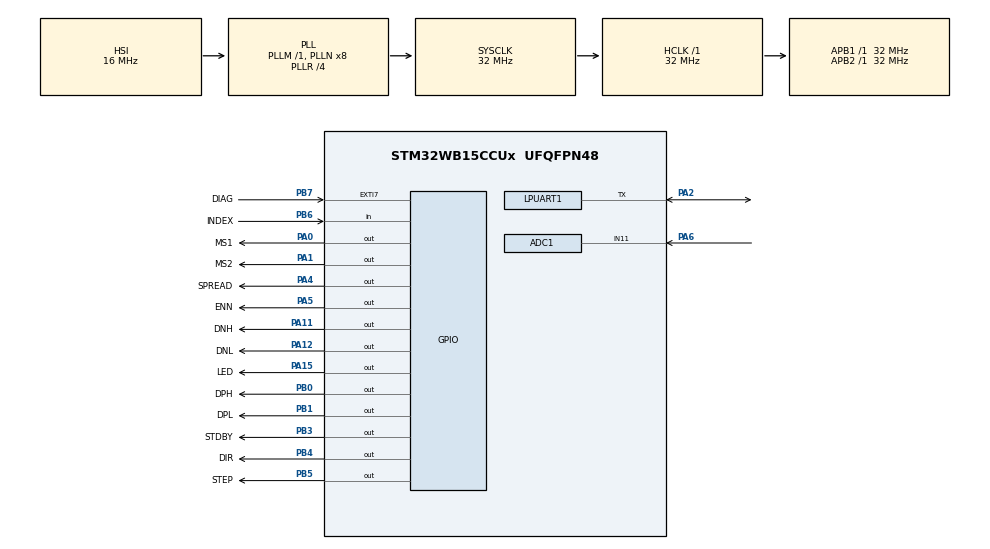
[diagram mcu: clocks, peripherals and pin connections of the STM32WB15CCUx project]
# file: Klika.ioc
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ADC1.Channel-0\#ChannelRegularConversion=ADC_CHANNEL_11
ADC1.NbrOfConversionFlag=1
ADC1.Rank-0\#ChannelRegularConversion=1
ADC1.SamplingTime-0\#ChannelRegularConversion=ADC_SAMPLINGTIME_COMMON_1
ADC1.SelectedChannel=ADC_CHANNEL_11
ADC1.master=1
LPUART1.BaudRate=460800
LPUART1.MSBFirstParam=UART_ADVFEATURE_MSBFIRST_DISABLE
Mcu.Family=STM32WB
Mcu.Name=STM32WB15CCUx
Mcu.Package=UFQFPN48
NVIC.EXTI9_5_IRQn=true\:4\:0\:true\:false\:true\:true\:true\:true
NVIC.HSEM_IRQn=true\:0\:0\:false\:false\:true\:false\:true\:true
NVIC.IPCC_C1_RX_IRQn=true\:0\:0\:false\:false\:true\:true\:true\:true
NVIC.IPCC_C1_TX_IRQn=true\:0\:0\:false\:false\:true\:true\:true\:true
NVIC.PriorityGroup=NVIC_PRIORITYGROUP_4
NVIC.RTC_WKUP_IRQn=true\:0\:0\:false\:false\:true\:true\:true\:true
NVIC.TIM1_CC_IRQn=true\:7\:0\:true\:false\:true\:true\:true\:true
NVIC.TIM1_UP_IRQn=true\:6\:0\:true\:false\:true\:true\:true\:true
OSC_IN.Mode=HSE-External-Oscillator
OSC_IN.Signal=RCC_OSC_IN
OSC_OUT.Mode=HSE-External-Oscillator
OSC_OUT.Signal=RCC_OSC_OUT
PA0.GPIO_Label=MS1
PA0.Signal=GPIO_Output
PA1.GPIO_Label=MS2
PA1.Signal=GPIO_Output
PA11.GPIO_Label=DNH
PA11.Signal=GPIO_Output
PA12.GPIO_Label=DNL
PA12.Signal=GPIO_Output
PA13.Mode=Serial_Wire
PA13.Signal=SYS_JTMS-SWDIO
PA14.Mode=Serial_Wire
PA14.Signal=SYS_JTCK-SWCLK
PA15.GPIO_Label=LED
PA15.Signal=GPIO_Output
PA2.GPIO_Speed=GPIO_SPEED_FREQ_VERY_HIGH
PA2.Mode=Half_duplex(single_wire_mode)
PA2.Signal=LPUART1_TX
PA4.GPIO_Label=SPREAD
PA4.Signal=GPIO_Output
PA5.GPIO_Label=ENN
PA5.Signal=GPIO_Output
PA6.Signal=ADCx_IN11
PB0.GPIO_Label=DPH
PB0.Signal=GPIO_Output
PB1.GPIO_Label=DPL
PB1.Signal=GPIO_Output
PB3.GPIO_Label=STDBY
PB3.Signal=GPIO_Output
PB4.GPIO_Label=DIR
PB4.Signal=GPIO_Output
PB5.GPIO_Label=STEP
PB5.Signal=GPIO_Output
PB6.GPIO_Label=INDEX
PB6.Signal=GPIO_Input
PB7.GPIO_Label=DIAG
PB7.Signal=GPXTI7
PC14-OSC32_IN.Mode=LSE-External-Oscillator
PC14-OSC32_IN.Signal=RCC_OSC32_IN
PC15-OSC32_OUT.Mode=LSE-External-Oscillator
PC15-OSC32_OUT.Signal=RCC_OSC32_OUT
ProjectManager.HeapSize=0x200
ProjectManager.StackSize=0x400
ProjectManager.TargetToolchain=STM32CubeIDE
RCC.ADCFreq_Value=16000000
RCC.AHBFreq_Value=32000000
RCC.APB1Freq_Value=32000000
RCC.APB1TimFreq_Value=32000000
RCC.APB2Freq_Value=32000000
RCC.APB2TimFreq_Value=32000000
RCC.APB3Freq_Value=16000000
RCC.CortexFreq_Value=32000000
RCC.HCLKFreq_Value=32000000
RCC.HSEPRES=2
RCC.HSE_VALUE=32000000
RCC.HSI_VALUE=16000000
RCC.MSIClockRange=RCC_MSIRANGE_10
RCC.PLLR=RCC_PLLR_DIV4
RCC.PLLSourceVirtual=RCC_PLLSOURCE_HSI
RCC.RFWKPClockSelection=RCC_RFWKPCLKSOURCE_LSE
RCC.RTCClockSelection=RCC_RTCCLKSOURCE_LSE
RCC.SYSCLKFreq_VALUE=32000000
RCC.SYSCLKSource=RCC_SYSCLKSOURCE_PLLCLK
RCC.VCOOutputFreq_Value=128000000
RF1.Mode=RF1_Activate
RF1.Signal=RF_RF1
SH.ADCx_IN11.0=ADC1_IN11,IN11-Single-Ended
STM32_WPAN.ADV_TYPE=ADV_IND
STM32_WPAN.AD_SERVICE_CLASS_UUID_1=00 69
STM32_WPAN.AD_SERVICE_CLASS_UUID_1_INV=[69, 00]
STM32_WPAN.AD_TYPE_APPEARANCE=0x01, 0x80 /* GENERIC_REMOTE_CONTOL_APPEARANCE */
STM32_WPAN.AD_TYPE_COMPLETE_LOCAL_NAME=KLIKA
STM32_WPAN.AD_TYPE_COMPLETE_LOCAL_NAME_LENGTH=6
STM32_WPAN.CFG_BLE_OPTIONS_POWER_CLASS=SHCI_C2_BLE_INIT_OPTIONS_POWER_CLASS_1
STM32_WPAN.CFG_GAP_DEVICE_NAME=KLIKA
STM32_WPAN.CFG_GAP_DEVICE_NAME_LENGTH=5
STM32_WPAN.CFG_IDENTITY_ADDRESS=GAP_PUBLIC_ADDR
STM32_WPAN.CFG_LSCLK_LSE=0
STM32_WPAN.CFG_PRIVACY=PRIVACY_DISABLED
STM32_WPAN.CFG_SC_SUPPORT=CFG_SECURE_MANDATORY
STM32_WPAN.CFG_TX_POWER=(0x1F) /* 6dBm */
STM32_WPAN.CUSTOM_P2P_SERVER=Disabled
STM32_WPAN.CUSTOM_TEMPLATE=Enabled
STM32_WPAN.GAP_BROADCASTER_ROLE=0
STM32_WPAN.GAP_PERIPHERAL_ROLE=0
STM32_WPAN.INCLUDE_AD_TYPE_128_BIT_SERV_UUID_CMPLT_LIST=0
STM32_WPAN.INCLUDE_AD_TYPE_16_BIT_SERV_UUID_CMPLT_LIST=0
STM32_WPAN.INCLUDE_AD_TYPE_ADVERTISING_INTERVAL=0
STM32_WPAN.INCLUDE_AD_TYPE_APPEARANCE=0
STM32_WPAN.INCLUDE_AD_TYPE_COMPLETE_LOCAL_NAME=1
STM32_WPAN.INCLUDE_AD_TYPE_LE_ROLE=0
STM32_WPAN.INCLUDE_AD_TYPE_MANUFACTURER_SPECIFIC_DATA=1
STM32_WPAN.INCLUDE_AD_TYPE_SHORTENED_LOCAL_NAME=0
STM32_WPAN.INCLUDE_AD_TYPE_SLAVE_CONN_INTERVAL=0
STM32_WPAN.INCLUDE_AD_TYPE_TX_POWER_LEVEL=0
STM32_WPAN.INCLUDE_AD_TYPE_URI=0
STM32_WPAN.LOCAL_NAME=KLIKA
STM32_WPAN.LOCAL_NAME_FORMATTED=,'K','L','I','K','A'
STM32_WPAN.NUMBER_OF_SERVICES=1
STM32_WPAN.PAIRING_PARAMETERS=ON
STM32_WPAN.SERVICE1_CHAR1_ATTR_PERMISSION_AUTHEN_WRITE=\ 
STM32_WPAN.SERVICE1_CHAR1_GATT_NOTIFY_ATTRIBUTE_WRITE=GATT_NOTIFY_ATTRIBUTE_WRITE
STM32_WPAN.SERVICE1_CHAR1_GATT_NOTIFY_READ_REQ_AND_WAIT_FOR_APPL_RESP=\ 
STM32_WPAN.SERVICE1_CHAR1_GATT_NOTIFY_WRITE_REQ_AND_WAIT_FOR_APPL_RESP=\ 
STM32_WPAN.SERVICE1_CHAR1_LONG_NAME=Lock
STM32_WPAN.SERVICE1_CHAR1_PROP_WRITE_WITHOUT_RESP=CHAR_PROP_WRITE_WITHOUT_RESP
STM32_WPAN.SERVICE1_CHAR1_SHORT_NAME=Lock
STM32_WPAN.SERVICE1_CHAR1_UUID=00 00
STM32_WPAN.SERVICE1_CHAR1_UUID_128_INPUT_TYPE=0
STM32_WPAN.SERVICE1_CHAR1_UUID_TYPE=0x01
STM32_WPAN.SERVICE1_CHAR1_VALUE_LENGTH=1
STM32_WPAN.SERVICE1_CHAR2_GATT_NOTIFY_READ_REQ_AND_WAIT_FOR_APPL_RESP=\ 
STM32_WPAN.SERVICE1_CHAR2_GATT_NOTIFY_WRITE_REQ_AND_WAIT_FOR_APPL_RESP=\ 
STM32_WPAN.SERVICE1_CHAR2_LENGTH_CHARACTERISTIC=CHAR_VALUE_LEN_CONSTANT
STM32_WPAN.SERVICE1_CHAR2_LONG_NAME=Unlock
STM32_WPAN.SERVICE1_CHAR2_PROP_WRITE_WITHOUT_RESP=CHAR_PROP_WRITE_WITHOUT_RESP
STM32_WPAN.SERVICE1_CHAR2_SHORT_NAME=Unlock
STM32_WPAN.SERVICE1_CHAR2_UUID=00 01
STM32_WPAN.SERVICE1_CHAR2_UUID_TYPE=0x01
STM32_WPAN.SERVICE1_CHAR3_GATT_NOTIFY_READ_REQ_AND_WAIT_FOR_APPL_RESP=\ 
STM32_WPAN.SERVICE1_CHAR3_GATT_NOTIFY_WRITE_REQ_AND_WAIT_FOR_APPL_RESP=\ 
STM32_WPAN.SERVICE1_CHAR3_LONG_NAME=Calibration
STM32_WPAN.SERVICE1_CHAR3_PROP_WRITE_WITHOUT_RESP=CHAR_PROP_WRITE_WITHOUT_RESP
STM32_WPAN.SERVICE1_CHAR3_SHORT_NAME=Calibration
STM32_WPAN.SERVICE1_CHAR3_UUID=00 02
STM32_WPAN.SERVICE1_CHAR3_UUID_TYPE=0x01
STM32_WPAN.SERVICE1_CHAR4_GATT_NOTIFY_READ_REQ_AND_WAIT_FOR_APPL_RESP=\ 
STM32_WPAN.SERVICE1_CHAR4_GATT_NOTIFY_WRITE_REQ_AND_WAIT_FOR_APPL_RESP=\ 
STM32_WPAN.SERVICE1_CHAR4_LONG_NAME=Demo
STM32_WPAN.SERVICE1_CHAR4_PROP_WRITE_WITHOUT_RESP=CHAR_PROP_WRITE_WITHOUT_RESP
STM32_WPAN.SERVICE1_CHAR4_SHORT_NAME=Demo
STM32_WPAN.SERVICE1_CHAR4_UUID=00 03
STM32_WPAN.SERVICE1_CHAR4_UUID_128_INPUT_TYPE=1
STM32_WPAN.SERVICE1_CHAR4_UUID_TYPE=0x01
STM32_WPAN.SERVICE1_CHAR5_GATT_NOTIFY_ATTRIBUTE_WRITE=GATT_NOTIFY_ATTRIBUTE_WRITE
STM32_WPAN.SERVICE1_CHAR5_GATT_NOTIFY_READ_REQ_AND_WAIT_FOR_APPL_RESP=\ 
STM32_WPAN.SERVICE1_CHAR5_GATT_NOTIFY_WRITE_REQ_AND_WAIT_FOR_APPL_RESP=\ 
STM32_WPAN.SERVICE1_CHAR5_LENGTH_CHARACTERISTIC=CHAR_VALUE_LEN_CONSTANT
STM32_WPAN.SERVICE1_CHAR5_LONG_NAME=MY_LED
STM32_WPAN.SERVICE1_CHAR5_PROP_WRITE_WITHOUT_RESP=CHAR_PROP_WRITE_WITHOUT_RESP
STM32_WPAN.SERVICE1_CHAR5_SHORT_NAME=LED
STM32_WPAN.SERVICE1_CHAR5_UUID=00 04
STM32_WPAN.SERVICE1_CHAR5_UUID_TYPE=0x01
STM32_WPAN.SERVICE1_CHAR5_VALUE_LENGTH=1
STM32_WPAN.SERVICE1_LONG_NAME=phone_communication
STM32_WPAN.SERVICE1_NUMBER_OF_CHARACTERISTICS=5
STM32_WPAN.SERVICE1_SHORT_NAME=phone_comm
STM32_WPAN.SERVICE1_TYPE=PRIMARY_SERVICE
STM32_WPAN.SERVICE1_UUID=07 08
STM32_WPAN.SERVICE1_UUID_TYPE=0x01
TIM1.AutoReloadPreload=TIM_AUTORELOAD_PRELOAD_ENABLE
TIM1.Channel-Output\ Compare1\ No\ Output=TIM_CHANNEL_1
TIM1.Period=32000
TIM1.Pulse-Output\ Compare1\ No\ Output=16000
VP_HSEM_VS_HSEM.Mode=HSEM_Activate
VP_IPCC_VS_IPCC.Mode=IPCC_Activate
VP_MEMORYMAP_VS_MEMORYMAP.Mode=CurAppReg
VP_RTC_VS_RTC_Activate.Mode=RTC_Enabled
VP_RTC_VS_RTC_WakeUp_intern.Mode=WakeUp
VP_SEQUENCER_VS_SEQUENCER.Mode=SEQUENCER_Enabled
VP_STM32_WPAN_VS_BLE_HOST.Mode=STM32_WPAN_Enabled
VP_TIM1_VS_ClockSourceINT.Mode=Internal
VP_TIM1_VS_no_output1.Mode=Output Compare1 No Output
VP_TINY_LPM_VS_TINY_LPM.Mode=TINY_LPM_Enabled
board=custom

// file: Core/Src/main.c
/* USER CODE BEGIN Header */
/**
  ******************************************************************************
  * @file           : main.c
  * @brief          : Main program body
  ******************************************************************************
  * @attention
  *
  * Copyright (c) 2024 STMicroelectronics.
  * All rights reserved.
  *
  * This software is licensed under terms that can be found in the LICENSE file
  * in the root directory of this software component.
  * If no LICENSE file comes with this software, it is provided AS-IS.
  *
  ******************************************************************************
  */
/* USER CODE END Header */
#include "main.h"
#include "adc.h"
#include "ipcc.h"
#include "usart.h"
#include "rf.h"
#include "rtc.h"
#include "tim.h"
#include "gpio.h"

/* USER CODE BEGIN Includes */
#include "TMC2009_UART.h"
#include "rev.h"

/* USER CODE END Includes */

/* USER CODE BEGIN PV */

  const int32_t speed = 200000;
  //const int32_t speed = 50000;

  enum FLAG f_Lock = no_flag;
  enum FLAG f_Unlock = no_flag;
  enum FLAG f_Calibration = no_flag;
  enum FLAG f_Demo = no_flag;
  enum FLAG f_Stop = no_flag;
  enum FLAG f_Diag = no_flag;

  uint32_t timer_start;
  uint32_t timer_now;

  //uint32_t sgresult_shifted = 0;
  //uint32_t tstep = 0;
  //uint32_t gstat = 0;
  volatile static uint32_t SG_RESULT = 0;
  volatile static uint32_t SGTHRS = 0;
  //const int32_t  speed = 200000;

  volatile static uint32_t PWM_SCALE_SUM = 0;
  volatile static int32_t  PWM_SCALE_AUTO = 0;
  volatile static uint32_t PWM_OFS_AUTO = 0;
  volatile static uint32_t PWM_GRAD_AUTO = 0;
/* USER CODE END PV */

void SystemClock_Config(void);
void PeriphCommonClock_Config(void);

int main(void)
{

  /* MCU Configuration--------------------------------------------------------*/

  /* Reset of all peripherals, Initializes the Flash interface and the Systick. */
  HAL_Init();
  /* Config code for STM32_WPAN (HSE Tuning must be done before system clock configuration) */
  MX_APPE_Config();

  /* Configure the system clock */
  SystemClock_Config();

  /* Configure the peripherals common clocks */
  PeriphCommonClock_Config();

  /* IPCC initialisation */
  MX_IPCC_Init();

  /* Initialize all configured peripherals */
  MX_GPIO_Init();
  MX_ADC1_Init();
  MX_LPUART1_UART_Init();
  MX_RTC_Init();
  MX_TIM1_Init();
  MX_RF_Init();
  /* USER CODE BEGIN 2 */

  ///Assign correct UART to TMC_uart variable.
  TMC_UART = &hlpuart1;

  HAL_GPIO_WritePin(MS1_GPIO_Port, MS1_Pin, GPIO_PIN_RESET);
  HAL_GPIO_WritePin(MS2_GPIO_Port, MS2_Pin, GPIO_PIN_RESET);
  HAL_GPIO_WritePin(DIR_GPIO_Port, DIR_Pin, GPIO_PIN_SET);
  HAL_GPIO_WritePin(ENN_GPIO_Port, ENN_Pin, GPIO_PIN_SET);
  HAL_GPIO_WritePin(STEP_GPIO_Port, STEP_Pin, GPIO_PIN_RESET);
  HAL_GPIO_WritePin(SPREAD_GPIO_Port, SPREAD_Pin, GPIO_PIN_RESET);

  INIT();

  //start_calibration();
  //HAL_Delay(10000);

  //---------------------------------------------------------
  //**test loop for stallguard threshold**
  //---------------------------------------------------------

/*
  //HAL_GPIO_WritePin(ENN_GPIO_Port, ENN_Pin, GPIO_PIN_SET);

  	  	  	  //execute automatic tuning procedure AT

  	  	  	  //slowly accelerate to MAX velocity e.g. VMAX

  	  	  	  //may have to tweak TMWMTHRS (disable with 0)

  	  	  	  //continue with SC2

*/

  volatile static enum FSMSTATE curr_state;
  curr_state = s_Idle;

  /* USER CODE END 2 */

  /* Init code for STM32_WPAN */
  MX_APPE_Init();

  /* Infinite loop */
  while (1)
  {
    MX_APPE_Process();

    /* USER CODE BEGIN 3 */
    ///------------------------------------------------------------------------------------------
    /// FSM:
    ///------------------------------------------------------------------------------------------

    switch (curr_state) {
      case (s_Idle):
        if (f_Lock)
        {
          f_Lock = no_flag;
          HAL_GPIO_WritePin(ENN_GPIO_Port, ENN_Pin, RESET);
          curr_state = s_Lock;
        } else if (f_Unlock)
        {
          f_Unlock = no_flag;
          curr_state = s_Unlock;
          HAL_GPIO_WritePin(ENN_GPIO_Port, ENN_Pin, RESET);
        } else if (f_Calibration)
        {
          f_Calibration = no_flag;
          curr_state = s_Calibration;
        } else if (f_Demo)
        {
          f_Demo = no_flag;
          curr_state = s_Demo;
        } else
        {
          curr_state = s_Idle;
        }
        break;

      case (s_Lock):
        Lock();
        timer_start = HAL_GetTick();
        curr_state = s_Turning;
        break;

      case (s_Unlock):
        Unlock();
        timer_start = HAL_GetTick();
        curr_state = s_Turning;
        break;

      case (s_Calibration):
        start_Calibration();
        curr_state = s_Idle;
        break;

      case (s_Demo):
        //start_Demo();
        curr_state = s_Idle;
        break;

      case (s_Turning):
        //timeout, stopped too soon or in correct time
        timer_now = HAL_GetTick();
        if ((timer_now - timer_start) > TMC_timeout) {
          curr_state = s_Timeout;
        } else if (f_Diag) {
          if ((timer_now - timer_start) < TMC_time_per_rot) {
            curr_state = s_Soon;
          } else {
            curr_state = s_Finnished;
          }
          f_Diag = 0;
          Stop();
          HAL_GPIO_WritePin(ENN_GPIO_Port, ENN_Pin, RESET);
        } else {
          curr_state = s_Turning;
        }
        break;

      case (s_Timeout):
        Stop();
        //HAL_GPIO_WritePin(ENN_GPIO_Port, ENN_Pin, SET);
        curr_state = s_Idle;
        break;

      case (s_Soon):

        curr_state = s_Idle;
        break;

      case (s_Finnished):

        curr_state = s_Idle;
        break;

      default: // Error
        curr_state = s_Idle;
        break;
    }

    /*old example
    if(DIAG_flag == 1) {
		HAL_GPIO_TogglePin(LED_GPIO_Port, LED_Pin);
		speed = -speed;
		HAL_Delay(1000);
		HAL_GPIO_WritePin(ENN_GPIO_Port, ENN_Pin, RESET);
		HAL_Delay(1);
		TMC_VACTUAL(0);
		INIT();
		HAL_Delay(1000);
		TMC_VACTUAL(speed);
		DIAG_flag = 0;
    }*/

    /*
    SG_RESULT		= TMC_read(REG_SG_RESULT);
    PWM_SCALE_SUM	= TMC_read_word(REG_PWM_SCALE, MASK_PWM_SCALE_SUM);
    PWM_SCALE_AUTO	= TMC_read_word(REG_PWM_SCALE, MASK_PWM_SCALE_AUTO);
    PWM_OFS_AUTO	= TMC_read_word(REG_PWM_AUTO, MASK_PWM_OFS_AUTO);
    PWM_GRAD_AUTO	= TMC_read_word(REG_PWM_AUTO, MASK_PWM_GRAD_AUTO);
    printf("%lu\n", SG_RESULT);*/

    //change ccr1 register and therefore change rotation speed of motor
    //TIM1->CCR1 = 200;

  }
  /* USER CODE END 3 */
}

void SystemClock_Config(void)
{
  RCC_OscInitTypeDef RCC_OscInitStruct = {0};
  RCC_ClkInitTypeDef RCC_ClkInitStruct = {0};

  /** Configure LSE Drive Capability
  */
  HAL_PWR_EnableBkUpAccess();
  __HAL_RCC_LSEDRIVE_CONFIG(RCC_LSEDRIVE_MEDIUMHIGH);

  /** Initializes the RCC Oscillators according to the specified parameters
  * in the RCC_OscInitTypeDef structure.
  */
  RCC_OscInitStruct.OscillatorType = RCC_OSCILLATORTYPE_HSI|RCC_OSCILLATORTYPE_HSE
                              |RCC_OSCILLATORTYPE_LSE;
  RCC_OscInitStruct.HSEState = RCC_HSE_ON;
  RCC_OscInitStruct.LSEState = RCC_LSE_ON;
  RCC_OscInitStruct.HSIState = RCC_HSI_ON;
  RCC_OscInitStruct.HSICalibrationValue = RCC_HSICALIBRATION_DEFAULT;
  RCC_OscInitStruct.PLL.PLLState = RCC_PLL_ON;
  RCC_OscInitStruct.PLL.PLLSource = RCC_PLLSOURCE_HSI;
  RCC_OscInitStruct.PLL.PLLM = RCC_PLLM_DIV1;
  RCC_OscInitStruct.PLL.PLLN = 8;
  RCC_OscInitStruct.PLL.PLLP = RCC_PLLP_DIV2;
  RCC_OscInitStruct.PLL.PLLR = RCC_PLLR_DIV4;
  RCC_OscInitStruct.PLL.PLLQ = RCC_PLLQ_DIV2;
  if (HAL_RCC_OscConfig(&RCC_OscInitStruct) != HAL_OK)
  {
    Error_Handler();
  }

  /** Configure the SYSCLKSource, HCLK, PCLK1 and PCLK2 clocks dividers
  */
  RCC_ClkInitStruct.ClockType = RCC_CLOCKTYPE_HCLK4|RCC_CLOCKTYPE_HCLK2
                              |RCC_CLOCKTYPE_HCLK|RCC_CLOCKTYPE_SYSCLK
                              |RCC_CLOCKTYPE_PCLK1|RCC_CLOCKTYPE_PCLK2;
  RCC_ClkInitStruct.SYSCLKSource = RCC_SYSCLKSOURCE_PLLCLK;
  RCC_ClkInitStruct.AHBCLKDivider = RCC_SYSCLK_DIV1;
  RCC_ClkInitStruct.APB1CLKDivider = RCC_HCLK_DIV1;
  RCC_ClkInitStruct.APB2CLKDivider = RCC_HCLK_DIV1;
  RCC_ClkInitStruct.AHBCLK2Divider = RCC_SYSCLK_DIV1;
  RCC_ClkInitStruct.AHBCLK4Divider = RCC_SYSCLK_DIV1;

  if (HAL_RCC_ClockConfig(&RCC_ClkInitStruct, FLASH_LATENCY_1) != HAL_OK)
  {
    Error_Handler();
  }
}

void PeriphCommonClock_Config(void)
{
  RCC_PeriphCLKInitTypeDef PeriphClkInitStruct = {0};

  /** Initializes the peripherals clock
  */
  PeriphClkInitStruct.PeriphClockSelection = RCC_PERIPHCLK_SMPS|RCC_PERIPHCLK_RFWAKEUP;
  PeriphClkInitStruct.RFWakeUpClockSelection = RCC_RFWKPCLKSOURCE_LSE;
  PeriphClkInitStruct.SmpsClockSelection = RCC_SMPSCLKSOURCE_HSI;
  PeriphClkInitStruct.SmpsDivSelection = RCC_SMPSCLKDIV_RANGE1;

  if (HAL_RCCEx_PeriphCLKConfig(&PeriphClkInitStruct) != HAL_OK)
  {
    Error_Handler();
  }
}

/* USER CODE BEGIN 4 */
int __io_putchar(int ch)
{
    ITM_SendChar(ch);  // Send character via SWO
    return ch;
}

void HAL_GPIO_EXTI_Callback(uint16_t GPIO_Pin)
{				// EXTI interrupt
	if(GPIO_Pin == DIAG_Pin) {									// Detect stall, set DIAG_flag and disable the driver
		if(f_Diag == no_flag) {
			HAL_GPIO_WritePin(ENN_GPIO_Port, ENN_Pin, SET);
			f_Diag = flag;
		}
	} else {
	  __NOP();
	}
}

/**
 * @brief This function runs number of settings of the TMC2209 stepper motor driver.
 *
 */
void INIT()
{
///------------------------------------------------------------------------------------------
///	Setup sequence:
///------------------------------------------------------------------------------------------

	///------------------------------------------------------------------------------------------
	///	GCONF
	///------------------------------------------------------------------------------------------
	TMC_write_bit(REG_GCONF, MASK_pdn_disable, 1);			//1 = disable Power down input/enable UART
	TMC_write_bit(REG_GCONF, MASK_i_scale_analog, 0);		//0 = disable external Vref
	TMC_write_bit(REG_GCONF, MASK_en_spreadcycle, 0);		//0 = clear en_spreadcycle in GCONF
	TMC_write_bit(REG_GCONF, MASK_internal_rsense, 0);		//0 = use external Rsense
	TMC_write_bit(REG_GCONF, MASK_mstep_reg_select, 1);		//1 = use value from MSTEP register
	TMC_write_bit(REG_GCONF, MASK_multistep_filt, 1);		//1 = software pulse filtering

	///------------------------------------------------------------------------------------------
	///	CHOPCONF
	///------------------------------------------------------------------------------------------
	TMC_write_bit(REG_CHOPCONF, MASK_vsense, 1);			//1 = use VSENSE (lower current)
	TMC_write_bit(REG_CHOPCONF, MASK_intpol, 1);			//The actual microstep resolution (MRES) becomes extrapolated to 256 microsteps
	TMC_write_word(REG_CHOPCONF, MASK_msres, 0b0000);		//%0000 = 256 ... 128, 64, 32, 16, 8, 4, 2, FULLSTEP

	TMC_write_word(REG_CHOPCONF, MASK_toff, 5);	  	  	//CHOPCONF set basic setting e.g.: TOFF=5, TBL=2, HSTART=4, HEND=0
	TMC_write_word(REG_CHOPCONF, MASK_tbl, 2);
	TMC_write_word(REG_CHOPCONF, MASK_hstrt, 4);
	TMC_write_word(REG_CHOPCONF, MASK_hend, 0);

	///------------------------------------------------------------------------------------------
	///	Velocity Dependent Control
	///------------------------------------------------------------------------------------------
	TMC_write_IHOLD_IRUN(1, 20, 4);						//setup IHOLD, IRUN and I_HOLD_DELAY
	TMC_write_only(REG_TPWMTHRS, 0b0);					//disable TPWMTHRS for only StealthChop
	TMC_write_only(REG_TCOOLTHRS, 1024);				//if TSTEP accedes this value CoolStep is disabled
														//TPOWERDOWN 2-255 default = 20

	///------------------------------------------------------------------------------------------
	///	PWMCONF
	///------------------------------------------------------------------------------------------
	TMC_write_bit(REG_PWMCONF, MASK_pwm_autoscale, 0b1);		//set pwm_autoscale and pwm_autograd in PWMCONF
	TMC_write_bit(REG_PWMCONF, MASK_pwm_autograd, 0b1);

	TMC_write_word(REG_PWMCONF, MASK_pwm_freq, 1);			//select PWM_FREQ in PWMCONF

	///------------------------------------------------------------------------------------------
	///	SGTHRS
	///------------------------------------------------------------------------------------------
	TMC_write_only(REG_SGTHRS, 75);

}

/**
 * @brief This function sets constant speed of the lock.
 *
 */
void Lock()
{
  TMC_VACTUAL(-speed);
}

/**
 * @brief This function sets constant reverse speed of the lock.
 *
 */
void Unlock()
{
  TMC_VACTUAL(speed);
}

/**
 * @brief This function stops the lock.
 *
 */
void Stop()
{
  TMC_VACTUAL(0);
}

void delay_us (uint16_t us)
{
	__HAL_TIM_SET_COUNTER(&htim1,0);  // set the counter value a 0
	while (__HAL_TIM_GET_COUNTER(&htim1) < us);  // wait for the counter to reach the us input in the parameter
}

/* USER CODE END 4 */

void Error_Handler(void)
{
  __disable_irq();
  while (1)
  {
  }
}
